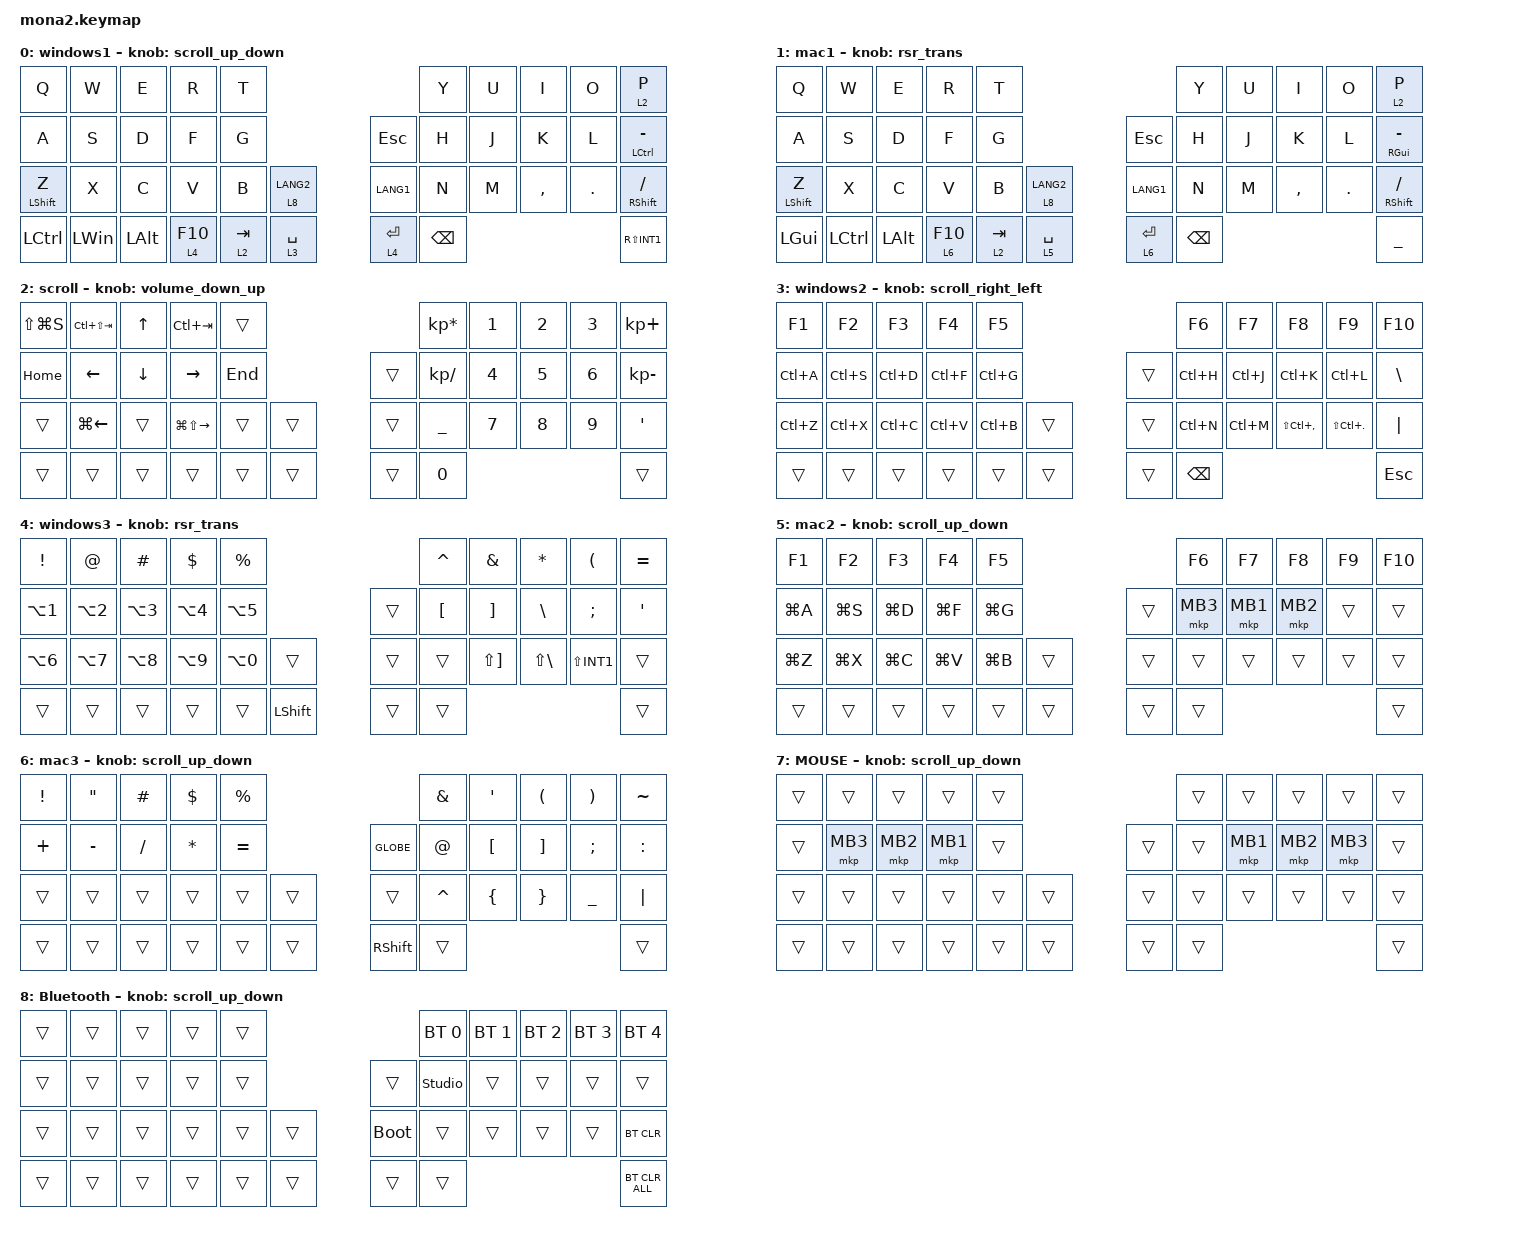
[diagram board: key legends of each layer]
#include <input/processors.dtsi>
#include <dt-bindings/zmk/input_transform.h>
#include <zephyr/dt-bindings/input/input-event-codes.h>
#include <behaviors.dtsi>
#include <dt-bindings/zmk/bt.h>
#include <dt-bindings/zmk/keys.h>
#include <dt-bindings/zmk/pointing.h>
#include <behaviors/runtime-input-processor.dtsi>
#include <behaviors/runtime_macro.dtsi>
#include <behaviors/runtime-sensor-rotate.dtsi>
#include <behaviors/default_layer.dtsi>

#define ZMK_POINTING_DEFAULT_SCRL_VAL 100
#define MOUSE 5
#define SCROLL 6

&mt {
    flavor = "balanced";
    quick-tap-ms = <0>;
};

&lt {
    quick-tap-ms = <300>;
    flavor = "balanced";
};

/ {
    // DYA Studio の Combo タブから編集できるコンボの初期値
    runtime_combo_defaults {
        compatible = "cormoran,runtime-combo-defaults";

        M1 {
            bindings = <&mkp MB1>;
            key-positions = <17 18>;
        };

        M2 {
            bindings = <&mkp MB2>;
            key-positions = <18 19>;
        };

        M3 {
            bindings = <&mkp MB3>;
            key-positions = <7 18>;
        };

        win {
            bindings = <&to 0>;
            key-positions = <38 5>;
        };

        mac {
            bindings = <&to 1>;
            key-positions = <6 38>;
        };

        PCopen {
            bindings = <&kp LC(LA(DELETE))>;
            key-positions = <8 9>;
        };
    };

    macros {
        to_layer_0: to_layer_0 {
            compatible = "zmk,behavior-macro-one-param";
            #binding-cells = <1>;
            bindings = <&to 0 &macro_param_1to1 &kp MACRO_PLACEHOLDER>;
            label = "TO_LAYER_0";
        };
    };

    behaviors {
        lt_to_layer_0: lt_to_layer_0 {
            compatible = "zmk,behavior-hold-tap";
            label = "LAYER_TAP_TO_0";
            bindings = <&mo>, <&to_layer_0>;

            #binding-cells = <2>;
            tapping-term-ms = <200>;
        };

        // ロータリーエンコーダーの初期値 (DYA Studio からレイヤーごとに変更できる)
        scroll_up_down: mouse_wheel_up_down {
            compatible = "zmk,behavior-runtime-sensor-rotate";
            #sensor-binding-cells = <0>;
            tap-ms = <20>;
            cw-binding = <&msc SCRL_DOWN>;
            ccw-binding = <&msc SCRL_UP>;
        };

        scroll_right_left: mouse_wheel_right_left {
            compatible = "zmk,behavior-runtime-sensor-rotate";
            #sensor-binding-cells = <0>;
            tap-ms = <20>;
            cw-binding = <&msc SCRL_LEFT>;
            ccw-binding = <&msc SCRL_RIGHT>;
        };

        volume_down_up: volume_down_up {
            compatible = "zmk,behavior-runtime-sensor-rotate";
            #sensor-binding-cells = <0>;
            cw-binding = <&kp C_VOL_DN>;
            ccw-binding = <&kp C_VOL_UP>;
        };
    };

    keymap {
        compatible = "zmk,keymap";

        windows1 {
            bindings = <
&kp Q             &kp W         &kp E         &kp R      &kp T                                  &kp Y          &kp U  &kp I      &kp O    &lt 2 P
&kp A             &kp S         &kp D         &kp F      &kp G                     &kp ESC      &kp H          &kp J  &kp K      &kp L    &mt LCTRL MINUS
&mt LEFT_SHIFT Z  &kp X         &kp C         &kp V      &kp B      &lt 8 LANG2    &kp LANG1    &kp N          &kp M  &kp COMMA  &kp DOT  &mt RIGHT_SHIFT SLASH
&kp LCTRL         &kp LEFT_WIN  &kp LEFT_ALT  &lt 4 F10  &lt 2 TAB  &lt 3 SPACE    &lt 4 ENTER  &kp BACKSPACE                             &kp RS(INT1)
            >;

            sensor-bindings = <&scroll_up_down>;
        };

        mac1 {
            bindings = <
&kp Q             &kp W      &kp E     &kp R      &kp T                                  &kp Y          &kp U  &kp I      &kp O    &lt 2 P
&kp A             &kp S      &kp D     &kp F      &kp G                     &kp ESC      &kp H          &kp J  &kp K      &kp L    &mt RIGHT_GUI MINUS
&mt LEFT_SHIFT Z  &kp X      &kp C     &kp V      &kp B      &lt 8 LANG2    &kp LANG1    &kp N          &kp M  &kp COMMA  &kp DOT  &mt RIGHT_SHIFT SLASH
&kp LGUI          &kp LCTRL  &kp LALT  &lt 6 F10  &lt 2 TAB  &lt 5 SPACE    &lt 6 ENTER  &kp BACKSPACE                             &kp UNDERSCORE
            >;

            sensor-bindings = <&rsr_trans>;
        };

        scroll {
            bindings = <
&kp LS(LG(S))  &kp LC(LS(TAB))     &kp UP_ARROW    &kp LC(TAB)              &trans                     &kp KP_MULTIPLY  &kp N1  &kp N2  &kp N3  &kp KP_PLUS
&kp HOME       &kp LEFT_ARROW      &kp DOWN_ARROW  &kp RIGHT_ARROW          &kp END            &trans  &kp KP_SLASH     &kp N4  &kp N5  &kp N6  &kp KP_MINUS
&trans         &kp LG(LEFT_ARROW)  &trans          &kp LG(LS(RIGHT_ARROW))  &trans   &trans    &trans  &kp UNDERSCORE   &kp N7  &kp N8  &kp N9  &kp SQT
&trans         &trans              &trans          &trans                   &trans   &trans    &trans  &kp N0                                   &trans
            >;

            sensor-bindings = <&volume_down_up>;
        };

        windows2 {
            bindings = <
&kp F1     &kp F2     &kp F3     &kp F4     &kp F5                       &kp F6         &kp F7     &kp F8             &kp F9           &kp F10
&kp LC(A)  &kp LC(S)  &kp LC(D)  &kp LC(F)  &kp LC(G)            &trans  &kp LC(H)      &kp LC(J)  &kp LC(K)          &kp LC(L)        &kp BACKSLASH
&kp LC(Z)  &kp LC(X)  &kp LC(C)  &kp LC(V)  &kp LC(B)  &trans    &trans  &kp LC(N)      &kp LC(M)  &kp LS(LC(COMMA))  &kp LS(LC(DOT))  &kp PIPE
&trans     &trans     &trans     &trans     &trans     &trans    &trans  &kp BACKSPACE                                                 &kp ESCAPE
            >;

            sensor-bindings = <&scroll_right_left>;
        };

        windows3 {
            bindings = <
&kp EXCLAMATION  &kp AT_SIGN  &kp HASH    &kp DOLLAR  &kp PERCENT                       &kp CARET         &kp AMPERSAND          &kp ASTERISK       &kp LEFT_PARENTHESIS  &kp EQUAL
&kp LA(N1)       &kp LA(N2)   &kp LA(N3)  &kp LA(N4)  &kp LA(N5)                &trans  &kp LEFT_BRACKET  &kp RIGHT_BRACKET      &kp BACKSLASH      &kp SEMICOLON         &kp SINGLE_QUOTE
&kp LA(N6)       &kp LA(N7)   &kp LA(N8)  &kp LA(N9)  &kp LA(N0)   &trans       &trans  &trans            &kp LS(RIGHT_BRACKET)  &kp LS(BACKSLASH)  &kp LS(INT1)          &trans
&trans           &trans       &trans      &trans      &trans       &kp LSHFT    &trans  &trans                                                                            &trans
            >;

            sensor-bindings = <&rsr_trans>;
        };

        mac2 {
            bindings = <
&kp F1     &kp F2     &kp F3     &kp F4     &kp F5                       &kp F6    &kp F7    &kp F8    &kp F9  &kp F10
&kp LG(A)  &kp LG(S)  &kp LG(D)  &kp LG(F)  &kp LG(G)            &trans  &mkp MB3  &mkp MB1  &mkp MB2  &trans  &trans
&kp LG(Z)  &kp LG(X)  &kp LG(C)  &kp LG(V)  &kp LG(B)  &trans    &trans  &trans    &trans    &trans    &trans  &trans
&trans     &trans     &trans     &trans     &trans     &trans    &trans  &trans                                &trans
            >;

            sensor-bindings = <&scroll_up_down>;
        };

        mac3 {
            bindings = <
&kp EXCLAMATION  &kp DOUBLE_QUOTES  &kp POUND  &kp DOLLAR    &kp PERCENT                             &kp AMPERSAND  &kp SQT           &kp LEFT_PARENTHESIS  &kp RIGHT_PARENTHESIS  &kp TILDE
&kp PLUS         &kp MINUS          &kp SLASH  &kp ASTERISK  &kp EQUAL              &kp GLOBE        &kp AT_SIGN    &kp LEFT_BRACKET  &kp RIGHT_BRACKET     &kp SEMICOLON          &kp COLON
&trans           &trans             &trans     &trans        &trans       &trans    &trans           &kp CARET      &kp LEFT_BRACE    &kp RIGHT_BRACE       &kp UNDERSCORE         &kp PIPE
&trans           &trans             &trans     &trans        &trans       &trans    &kp RIGHT_SHIFT  &trans                                                                        &trans
            >;

            sensor-bindings = <&scroll_up_down>;
        };

        MOUSE {
            bindings = <
&trans  &trans    &trans    &trans    &trans                    &trans  &trans    &trans    &trans    &trans
&trans  &mkp MB3  &mkp MB2  &mkp MB1  &trans            &trans  &trans  &mkp MB1  &mkp MB2  &mkp MB3  &trans
&trans  &trans    &trans    &trans    &trans  &trans    &trans  &trans  &trans    &trans    &trans    &trans
&trans  &trans    &trans    &trans    &trans  &trans    &trans  &trans                                &trans
            >;

            sensor-bindings = <&scroll_up_down>;
        };

        Bluetooth {
            bindings = <
&trans  &trans  &trans  &trans  &trans                         &bt BT_SEL 0  &bt BT_SEL 1  &bt BT_SEL 2  &bt BT_SEL 3  &bt BT_SEL 4
&trans  &trans  &trans  &trans  &trans            &trans       &studio_unlock  &trans        &trans        &trans        &trans
&trans  &trans  &trans  &trans  &trans  &trans    &bootloader  &trans        &trans        &trans        &trans        &bt BT_CLR
&trans  &trans  &trans  &trans  &trans  &trans    &trans       &trans                                                  &bt BT_CLR_ALL
            >;

            sensor-bindings = <&scroll_up_down>;
        };
    };
};
